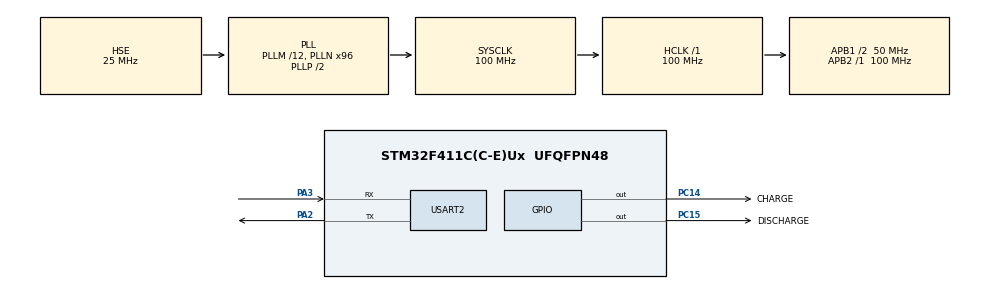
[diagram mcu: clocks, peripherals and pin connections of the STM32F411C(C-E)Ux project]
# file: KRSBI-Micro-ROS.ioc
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Dma.Request0=USART2_RX
Dma.Request1=USART2_TX
Dma.USART2_RX.0.Direction=DMA_PERIPH_TO_MEMORY
Dma.USART2_RX.0.FIFOMode=DMA_FIFOMODE_DISABLE
Dma.USART2_RX.0.Instance=DMA1_Stream5
Dma.USART2_RX.0.MemDataAlignment=DMA_MDATAALIGN_BYTE
Dma.USART2_RX.0.MemInc=DMA_MINC_ENABLE
Dma.USART2_RX.0.Mode=DMA_CIRCULAR
Dma.USART2_RX.0.PeriphDataAlignment=DMA_PDATAALIGN_BYTE
Dma.USART2_RX.0.PeriphInc=DMA_PINC_DISABLE
Dma.USART2_RX.0.Priority=DMA_PRIORITY_VERY_HIGH
Dma.USART2_TX.1.Direction=DMA_MEMORY_TO_PERIPH
Dma.USART2_TX.1.FIFOMode=DMA_FIFOMODE_DISABLE
Dma.USART2_TX.1.Instance=DMA1_Stream6
Dma.USART2_TX.1.MemDataAlignment=DMA_MDATAALIGN_BYTE
Dma.USART2_TX.1.MemInc=DMA_MINC_ENABLE
Dma.USART2_TX.1.Mode=DMA_NORMAL
Dma.USART2_TX.1.PeriphDataAlignment=DMA_PDATAALIGN_BYTE
Dma.USART2_TX.1.PeriphInc=DMA_PINC_DISABLE
Dma.USART2_TX.1.Priority=DMA_PRIORITY_VERY_HIGH
FREERTOS.Tasks01=defaultTask,24,3000,StartDefaultTask,Default,NULL,Dynamic,NULL,NULL
FREERTOS.configUSE_NEWLIB_REENTRANT=1
Mcu.Family=STM32F4
Mcu.Name=STM32F411C(C-E)Ux
Mcu.Package=UFQFPN48
NVIC.DMA1_Stream5_IRQn=true\:5\:0\:false\:false\:true\:true\:false\:true\:true
NVIC.DMA1_Stream6_IRQn=true\:5\:0\:false\:false\:true\:true\:false\:true\:true
NVIC.PriorityGroup=NVIC_PRIORITYGROUP_4
NVIC.TIM1_UP_TIM10_IRQn=true\:15\:0\:false\:false\:true\:false\:false\:true\:true
NVIC.TimeBase=TIM1_UP_TIM10_IRQn
NVIC.TimeBaseIP=TIM1
NVIC.USART2_IRQn=true\:5\:0\:false\:false\:true\:true\:true\:true\:true
PA13.Mode=Serial_Wire
PA13.Signal=SYS_JTMS-SWDIO
PA14.Mode=Serial_Wire
PA14.Signal=SYS_JTCK-SWCLK
PA2.Mode=Asynchronous
PA2.Signal=USART2_TX
PA3.Mode=Asynchronous
PA3.Signal=USART2_RX
PC14-OSC32_IN.GPIO_Label=CHARGE
PC14-OSC32_IN.Signal=GPIO_Output
PC15-OSC32_OUT.GPIO_Label=DISCHARGE
PC15-OSC32_OUT.Signal=GPIO_Output
PH0\ -\ OSC_IN.Mode=HSE-External-Oscillator
PH0\ -\ OSC_IN.Signal=RCC_OSC_IN
PH1\ -\ OSC_OUT.Mode=HSE-External-Oscillator
PH1\ -\ OSC_OUT.Signal=RCC_OSC_OUT
ProjectManager.HeapSize=0x200
ProjectManager.StackSize=0x400
ProjectManager.TargetToolchain=STM32CubeIDE
RCC.48MHZClocksFreq_Value=50000000
RCC.AHBFreq_Value=100000000
RCC.APB1CLKDivider=RCC_HCLK_DIV2
RCC.APB1Freq_Value=50000000
RCC.APB1TimFreq_Value=100000000
RCC.APB2Freq_Value=100000000
RCC.APB2TimFreq_Value=100000000
RCC.CortexFreq_Value=100000000
RCC.HCLKFreq_Value=100000000
RCC.HSE_VALUE=25000000
RCC.HSI_VALUE=16000000
RCC.LSE_VALUE=32768
RCC.PLLM=12
RCC.PLLN=96
RCC.PLLSourceVirtual=RCC_PLLSOURCE_HSE
RCC.SYSCLKFreq_VALUE=100000000
RCC.SYSCLKSource=RCC_SYSCLKSOURCE_PLLCLK
RCC.VCOOutputFreq_Value=200000000
USART2.VirtualMode=VM_ASYNC
VP_FREERTOS_VS_CMSIS_V2.Mode=CMSIS_V2
VP_SYS_VS_tim1.Mode=TIM1
board=custom

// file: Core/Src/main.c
/* USER CODE BEGIN Header */
/**
 ******************************************************************************
 * @file           : main.c
 * @brief          : Main program body
 ******************************************************************************
 * @attention
 *
 * Copyright (c) 2025 STMicroelectronics.
 * All rights reserved.
 *
 * This software is licensed under terms that can be found in the LICENSE file
 * in the root directory of this software component.
 * If no LICENSE file comes with this software, it is provided AS-IS.
 *
 ******************************************************************************
 */
/* USER CODE END Header */
#include "main.h"
#include "cmsis_os.h"

/* USER CODE BEGIN Includes */
#include <rcl/rcl.h>
#include <rcl/error_handling.h>
#include <rclc/rclc.h>
#include <rclc/executor.h>
#include <uxr/client/transport.h>
#include <rmw_microxrcedds_c/config.h>
#include <rmw_microros/rmw_microros.h>
#include <std_msgs/msg/float32_multi_array.h>
#include <krsbi_interfaces/msg/ball_position_based_on_camera.h>
#include <krsbi_interfaces/msg/wheel.h>
#include <krsbi_interfaces/msg/robot_mode.h>
#include <krsbi_interfaces/msg/kicker_module.h>
#include <math.h>
#include <pid.h>
#include <utility.h>
/* USER CODE END Includes */

/* USER CODE BEGIN PTD */
enum states {
	WAITING_AGENT, AGENT_AVAILABLE, AGENT_CONNECTED, AGENT_DISCONNECTED
} state;
/* USER CODE END PTD */

/* USER CODE BEGIN PM */
#define EXECUTE_EVERY_N_MS(MS, X)  do { \
    static volatile int64_t init = -1; \
    if (init == -1) { init = uxr_millis();} \
    if (uxr_millis() - init > MS) { X; init = uxr_millis();} \
  } while (0)
/* USER CODE END PM */

UART_HandleTypeDef huart2;
DMA_HandleTypeDef hdma_usart2_rx;
DMA_HandleTypeDef hdma_usart2_tx;

/* Definitions for defaultTask */
osThreadId_t defaultTaskHandle;
const osThreadAttr_t defaultTask_attributes = { .name = "defaultTask",
		.stack_size = 3000 * 4, .priority = (osPriority_t) osPriorityNormal, };
/* USER CODE BEGIN PV */
bool cubemx_transport_open(struct uxrCustomTransport *transport);
bool cubemx_transport_close(struct uxrCustomTransport *transport);
size_t cubemx_transport_write(struct uxrCustomTransport *transport,
		const uint8_t *buf, size_t len, uint8_t *err);
size_t cubemx_transport_read(struct uxrCustomTransport *transport, uint8_t *buf,
		size_t len, int timeout, uint8_t *err);

void* microros_allocate(size_t size, void *state);
void microros_deallocate(void *pointer, void *state);
void* microros_reallocate(void *pointer, size_t size, void *state);
void* microros_zero_allocate(size_t number_of_elements, size_t size_of_element,
		void *state);

/*
 * Declare rcl object
 */
rclc_support_t support;
rcl_init_options_t init_options;
rcl_node_t node;
rcl_timer_t timer;
rclc_executor_t executor;
rcl_allocator_t allocator;

/*
 * TODO : Declare your
 * publisher & subscription objects below
 */
rcl_publisher_t pubWheel;
rcl_subscription_t subBallPositionBasedOnCamera;
rcl_subscription_t subRobotMode;
rcl_subscription_t subKickerModule;
rcl_subscription_t subPIDParam;

/*
 * TODO : Define your necessary Msg
 * that you want to work with below.
 */
krsbi_interfaces__msg__Wheel wheel_msg;
krsbi_interfaces__msg__BallPositionBasedOnCamera ballPositionBasedOnCamera_msg;
krsbi_interfaces__msg__RobotMode robotMode_msg;
krsbi_interfaces__msg__KickerModule kickerModule_msg;
std_msgs__msg__Float32MultiArray pidParam_msg;

PID_Controller pidAx, pidAy, pidW;
float ax, ay, w, errorJarak, errorSudut, errorX, errorY, force1, force2, force3;
/* USER CODE END PV */

void SystemClock_Config(void);
static void MX_GPIO_Init(void);
static void MX_DMA_Init(void);
static void MX_USART2_UART_Init(void);
void StartDefaultTask(void *argument);

/* USER CODE BEGIN 0 */
void kejar_bola_1(float *ax, float *w) {
	errorJarak = fabs(
			error_jarak_calculation(
					ballPositionBasedOnCamera_msg.position_set_point,
					ballPositionBasedOnCamera_msg.distance));
	errorSudut = error_sudut_calculation(
			ballPositionBasedOnCamera_msg.angle_set_point,
			ballPositionBasedOnCamera_msg.angle);
	*ax = PID_Update(&pidAx, ballPositionBasedOnCamera_msg.distance,
			errorJarak);
	*w = -PID_Update(&pidW, ballPositionBasedOnCamera_msg.angle, errorSudut);
}

void kejar_bola_2(float *ax, float *ay, float *w) {
	errorSudut = error_sudut_calculation(
			ballPositionBasedOnCamera_msg.angle_set_point,
			ballPositionBasedOnCamera_msg.angle);
	errorX = error_jarak_calculation(
			ballPositionBasedOnCamera_msg.position_x_set_point,
			ballPositionBasedOnCamera_msg.x_on_camera);
	errorY = error_jarak_calculation(
			ballPositionBasedOnCamera_msg.position_y_set_point,
			ballPositionBasedOnCamera_msg.y_on_camera);

	*ax =
			(PID_Update(&pidAx, ballPositionBasedOnCamera_msg.x_on_camera,
					errorY));
	*ay =
			(PID_Update(&pidAy, ballPositionBasedOnCamera_msg.y_on_camera,
					errorX));
	*w = PID_Update(&pidW, ballPositionBasedOnCamera_msg.angle, errorSudut);

}

void remap(float *force, float fromMinMax[2], float toMinMax[2]) {
	*force = ((*force - fromMinMax[0]) / (fromMinMax[1] - fromMinMax[0]))
			* (toMinMax[1] - toMinMax[0]) + toMinMax[0];
}

void motor_calculation(float ax, float ay, float w) {

	// Menghitung force untuk setiap motor
	force1 = ((-0.5773509529248335 * ax) + (-0.33333368867682667 * ay)
			+ (0.33333368867682667 * w));
	force2 = ((0.5773509529248335 * ax) + (-0.3333329779898402 * ay)
			+ (0.3333329779898402 * w));
	force3 = ((0 * ax) + (0.6666666666666669 * ay) + (0.33333333333333326 * w));

	// Remap jika force1 >= 0
	if (force1 >= 0) {
		float fromRange[2] = { 0, 0.91 };
		float toRange[2] = { 0, 255 };
		remap(&force1, fromRange, toRange);
		wheel_msg.left_wheel_cw = force1;
		wheel_msg.left_wheel_ccw = 0;
	} else if (force1 < 0) {
		force1 = fabs(force1);
		float fromRange[2] = { 0, 0.91 };
		float toRange[2] = { 0, 255 };
		remap(&force1, fromRange, toRange);
		wheel_msg.left_wheel_cw = 0;
		wheel_msg.left_wheel_ccw = force1;

	}
	if (force2 >= 0) {
		float fromRange[2] = { 0, 0.91 };
		float toRange[2] = { 0, 255 };
		remap(&force2, fromRange, toRange);
		wheel_msg.right_wheel_cw = force2;
		wheel_msg.right_wheel_ccw = 0;
	} else if (force2 < 0) {
		force2 = fabs(force2);
		float fromRange[2] = { 0, 0.91 };
		float toRange[2] = { 0, 255 };
		remap(&force2, fromRange, toRange);
		wheel_msg.right_wheel_cw = 0;
		wheel_msg.right_wheel_ccw = force2;

	}
	if (force3 >= 0) {
		float fromRange[2] = { 0, 0.91 };
		float toRange[2] = { 0, 255 };
		remap(&force3, fromRange, toRange);
		wheel_msg.bottom_wheel_cw = force3;
		wheel_msg.bottom_wheel_cw = 0;
	} else if (force3 < 0) {
		force3 = fabs(force3);
		float fromRange[2] = { 0, 0.91 };
		float toRange[2] = { 0, 255 };
		remap(&force3, fromRange, toRange);
		wheel_msg.bottom_wheel_cw = 0;
		wheel_msg.bottom_wheel_cw = force3;

	}
}

void ball_position_based_on_camera_callback(const void *msgin) {
	krsbi_interfaces__msg__BallPositionBasedOnCamera *ballPositionBasedOnCamera_msg =
			(krsbi_interfaces__msg__BallPositionBasedOnCamera*) msgin;

}

void robot_mode_callback(const void *msgin) {
	krsbi_interfaces__msg__RobotMode *robotMode_msg =
			(krsbi_interfaces__msg__RobotMode*) msgin;
}

void kicker_module_callback(const void *msgin) {
	krsbi_interfaces__msg__KickerModule *kickerModule_msg =
			(krsbi_interfaces__msg__KickerModule*) msgin;
}

void pidParam_callback(const void *msgin) {
	const std_msgs__msg__Float32MultiArray *pidParam_msg =
			(const std_msgs__msg__Float32MultiArray*) msgin;

	if (pidParam_msg->data.size >= 9) {
		pidAx.kp = pidParam_msg->data.data[0];
		pidAx.ki = pidParam_msg->data.data[1];
		pidAx.kd = pidParam_msg->data.data[2];

		pidAy.kp = pidParam_msg->data.data[3];
		pidAy.ki = pidParam_msg->data.data[4];
		pidAy.kd = pidParam_msg->data.data[5];

		pidW.kp = pidParam_msg->data.data[6];
		pidW.ki = pidParam_msg->data.data[7];
		pidW.kd = pidParam_msg->data.data[8];
	}
}

void timer_callback(rcl_timer_t *timer, int64_t last_call_time) {
	(void) last_call_time;
	if (timer != NULL) {

		/*
		 TODO : Publish anything inside here
		 */
		if (strcasecmp(robotMode_msg.mode.data, "catchBall") == 0
				|| strcasecmp(robotMode_msg.mode.data, "catchBall2") == 0) {
			rcl_publish(&pubWheel, &wheel_msg, NULL);
		}

	}
}

bool create_entities() {
	/*
	 TODO : Define your
	 - ROS node name
	 - namespace
	 - ROS_DOMAIN_ID
	 */
	const char *node_name = "stm32_node";
	const char *ns = "";
	const int domain_id = 0;

	/*
	 * Initialize node
	 */
	allocator = rcl_get_default_allocator();
	init_options = rcl_get_zero_initialized_init_options();
	rcl_init_options_init(&init_options, allocator);
	rcl_init_options_set_domain_id(&init_options, domain_id);
	rclc_support_init_with_options(&support, 0, NULL, &init_options,
			&allocator);
	rclc_node_init_default(&node, node_name, ns, &support);

	/*
	 * TODO : Init your publisher and subscriber
	 */
	rclc_publisher_init(&pubWheel, &node,
			ROSIDL_GET_MSG_TYPE_SUPPORT(krsbi_interfaces, msg, Wheel), "Wheel",
			&rmw_qos_profile_default);

	rclc_subscription_init(&subBallPositionBasedOnCamera, &node,
			ROSIDL_GET_MSG_TYPE_SUPPORT(krsbi_interfaces, msg,
					BallPositionBasedOnCamera), "/BallPositionBasedOnCamera",
			&rmw_qos_profile_default);

	rclc_subscription_init(&subRobotMode, &node,
			ROSIDL_GET_MSG_TYPE_SUPPORT(krsbi_interfaces, msg, RobotMode),
			"/RobotMode", &rmw_qos_profile_default);

	rclc_subscription_init(&subKickerModule, &node,
			ROSIDL_GET_MSG_TYPE_SUPPORT(krsbi_interfaces, msg, KickerModule),
			"/KickerModule", &rmw_qos_profile_default);

	rclc_subscription_init(&subPIDParam, &node,
			ROSIDL_GET_MSG_TYPE_SUPPORT(std_msgs, msg, Float32MultiArray),
			"/pidParams", &rmw_qos_profile_default);

	/*
	 * Init timer_callback
	 * TODO : change timer_timeout
	 * 50ms : 20Hz
	 * 20ms : 50Hz
	 * 10ms : 100Hz
	 */
	const unsigned int timer_timeout = 10;
	rclc_timer_init_default(&timer, &support, RCL_MS_TO_NS(timer_timeout),
			timer_callback);

	/*
	 * Init Executor
	 * TODO : make sure the num_handles is correct
	 * num_handles = total_of_subscriber + timer
	 * publisher is not counted
	 *
	 * TODO : make sure the name of sub msg and callback are correct
	 */
	unsigned int num_handles = 5;
	executor = rclc_executor_get_zero_initialized_executor();
	rclc_executor_init(&executor, &support.context, num_handles, &allocator);
	rclc_executor_add_subscription(&executor, &subBallPositionBasedOnCamera,
			&ballPositionBasedOnCamera_msg,
			&ball_position_based_on_camera_callback, ON_NEW_DATA);
	rclc_executor_add_subscription(&executor, &subRobotMode, &robotMode_msg,
			&robot_mode_callback, ON_NEW_DATA);
	rclc_executor_add_subscription(&executor, &subKickerModule,
			&kickerModule_msg, &kicker_module_callback, ON_NEW_DATA);
	rclc_executor_add_subscription(&executor, &subPIDParam, &pidParam_msg,
			&pidParam_callback, ON_NEW_DATA);
	rclc_executor_add_timer(&executor, &timer);

	return true;
}

void destroy_entities() {
	rmw_context_t *rmw_context = rcl_context_get_rmw_context(&support.context);
	(void) rmw_uros_set_context_entity_destroy_session_timeout(rmw_context, 0);

	rcl_timer_fini(&timer);
	rclc_executor_fini(&executor);
	rcl_init_options_fini(&init_options);
	rcl_node_fini(&node);
	rclc_support_fini(&support);
	/*
	 * TODO : Make sue the name of publisher and subscriber are correct
	 */
	rcl_publisher_fini(&pubWheel, &node);
	rcl_subscription_fini(&subBallPositionBasedOnCamera, &node);
	rcl_subscription_fini(&subRobotMode, &node);
	rcl_subscription_fini(&subKickerModule, &node);
	rcl_subscription_fini(&subPIDParam, &node);
}
/* USER CODE END 0 */

int main(void) {

	/* MCU Configuration--------------------------------------------------------*/

	/* Reset of all peripherals, Initializes the Flash interface and the Systick. */
	HAL_Init();

	/* Configure the system clock */
	SystemClock_Config();

	/* Initialize all configured peripherals */
	MX_GPIO_Init();
	MX_DMA_Init();
	MX_USART2_UART_Init();
	/* USER CODE BEGIN 2 */
	PID_Init(&pidAx, 15, 0.1, 0, -1000, 1000);
	PID_Init(&pidW, 6, 0, 0, -1000, 1000);
	PID_Init(&pidAy, 15, 0.1, 0, -1000, 1000);
	/* USER CODE END 2 */

	/* Init scheduler */
	osKernelInitialize();

	/* Create the thread(s) */
	/* creation of defaultTask */
	defaultTaskHandle = osThreadNew(StartDefaultTask, NULL,
			&defaultTask_attributes);

	/* Start scheduler */
	osKernelStart();

	/* We should never get here as control is now taken by the scheduler */

	/* Infinite loop */
	while (1) {

	}
}

void SystemClock_Config(void) {
	RCC_OscInitTypeDef RCC_OscInitStruct = { 0 };
	RCC_ClkInitTypeDef RCC_ClkInitStruct = { 0 };

	/** Configure the main internal regulator output voltage
	 */
	__HAL_RCC_PWR_CLK_ENABLE();
	__HAL_PWR_VOLTAGESCALING_CONFIG(PWR_REGULATOR_VOLTAGE_SCALE1);

	/** Initializes the RCC Oscillators according to the specified parameters
	 * in the RCC_OscInitTypeDef structure.
	 */
	RCC_OscInitStruct.OscillatorType = RCC_OSCILLATORTYPE_HSE;
	RCC_OscInitStruct.HSEState = RCC_HSE_ON;
	RCC_OscInitStruct.PLL.PLLState = RCC_PLL_ON;
	RCC_OscInitStruct.PLL.PLLSource = RCC_PLLSOURCE_HSE;
	RCC_OscInitStruct.PLL.PLLM = 12;
	RCC_OscInitStruct.PLL.PLLN = 96;
	RCC_OscInitStruct.PLL.PLLP = RCC_PLLP_DIV2;
	RCC_OscInitStruct.PLL.PLLQ = 4;
	if (HAL_RCC_OscConfig(&RCC_OscInitStruct) != HAL_OK) {
		Error_Handler();
	}

	/** Initializes the CPU, AHB and APB buses clocks
	 */
	RCC_ClkInitStruct.ClockType = RCC_CLOCKTYPE_HCLK | RCC_CLOCKTYPE_SYSCLK
			| RCC_CLOCKTYPE_PCLK1 | RCC_CLOCKTYPE_PCLK2;
	RCC_ClkInitStruct.SYSCLKSource = RCC_SYSCLKSOURCE_PLLCLK;
	RCC_ClkInitStruct.AHBCLKDivider = RCC_SYSCLK_DIV1;
	RCC_ClkInitStruct.APB1CLKDivider = RCC_HCLK_DIV2;
	RCC_ClkInitStruct.APB2CLKDivider = RCC_HCLK_DIV1;

	if (HAL_RCC_ClockConfig(&RCC_ClkInitStruct, FLASH_LATENCY_3) != HAL_OK) {
		Error_Handler();
	}
}

static void MX_USART2_UART_Init(void) {

	huart2.Instance = USART2;
	huart2.Init.BaudRate = 115200;
	huart2.Init.WordLength = UART_WORDLENGTH_8B;
	huart2.Init.StopBits = UART_STOPBITS_1;
	huart2.Init.Parity = UART_PARITY_NONE;
	huart2.Init.Mode = UART_MODE_TX_RX;
	huart2.Init.HwFlowCtl = UART_HWCONTROL_NONE;
	huart2.Init.OverSampling = UART_OVERSAMPLING_16;
	if (HAL_UART_Init(&huart2) != HAL_OK) {
		Error_Handler();
	}

}

static void MX_DMA_Init(void) {

	/* DMA controller clock enable */
	__HAL_RCC_DMA1_CLK_ENABLE();

	/* DMA interrupt init */
	/* DMA1_Stream5_IRQn interrupt configuration */
	HAL_NVIC_SetPriority(DMA1_Stream5_IRQn, 5, 0);
	HAL_NVIC_EnableIRQ(DMA1_Stream5_IRQn);
	/* DMA1_Stream6_IRQn interrupt configuration */
	HAL_NVIC_SetPriority(DMA1_Stream6_IRQn, 5, 0);
	HAL_NVIC_EnableIRQ(DMA1_Stream6_IRQn);

}

static void MX_GPIO_Init(void) {
	GPIO_InitTypeDef GPIO_InitStruct = { 0 };

	/* GPIO Ports Clock Enable */
	__HAL_RCC_GPIOC_CLK_ENABLE();
	__HAL_RCC_GPIOH_CLK_ENABLE();
	__HAL_RCC_GPIOA_CLK_ENABLE();

	/*Configure GPIO pin Output Level */
	HAL_GPIO_WritePin(GPIOC, CHARGE_Pin | DISCHARGE_Pin, GPIO_PIN_RESET);

	/*Configure GPIO pins : CHARGE_Pin DISCHARGE_Pin */
	GPIO_InitStruct.Pin = CHARGE_Pin | DISCHARGE_Pin;
	GPIO_InitStruct.Mode = GPIO_MODE_OUTPUT_PP;
	GPIO_InitStruct.Pull = GPIO_NOPULL;
	GPIO_InitStruct.Speed = GPIO_SPEED_FREQ_LOW;
	HAL_GPIO_Init(GPIOC, &GPIO_InitStruct);

}

void StartDefaultTask(void *argument) {
	/* USER CODE BEGIN 5 */
	rmw_uros_set_custom_transport(
	true, (void*) &huart2, cubemx_transport_open, cubemx_transport_close,
			cubemx_transport_write, cubemx_transport_read);

	rcl_allocator_t freeRTOS_allocator =
			rcutils_get_zero_initialized_allocator();
	freeRTOS_allocator.allocate = microros_allocate;
	freeRTOS_allocator.deallocate = microros_deallocate;
	freeRTOS_allocator.reallocate = microros_reallocate;
	freeRTOS_allocator.zero_allocate = microros_zero_allocate;

	if (!rcutils_set_default_allocator(&freeRTOS_allocator)) {
		printf("Error on default allocators (line %d)\n", __LINE__);
	}

	kickerModule_msg.status.data = malloc(32);
	kickerModule_msg.status.size = 0;
	kickerModule_msg.status.capacity = 32;

	robotMode_msg.mode.data = malloc(32);
	robotMode_msg.mode.size = 0;
	robotMode_msg.mode.capacity = 32;

	static float pidParam_data[9] = {0}; // buffer statik agar tidak hilang dari stack
	pidParam_msg.data.size = 9;
	pidParam_msg.data.capacity = 9;
	pidParam_msg.data.data = pidParam_data;

	state = WAITING_AGENT;
	/* Infinite loop */
	for (;;) {
		switch (state) {
		case WAITING_AGENT:
			EXECUTE_EVERY_N_MS(500,
					state = (RMW_RET_OK == rmw_uros_ping_agent(100, 1)) ? AGENT_AVAILABLE : WAITING_AGENT;);
			break;
		case AGENT_AVAILABLE:
			state = (true == create_entities()) ?
					AGENT_CONNECTED : WAITING_AGENT;
			if (state == WAITING_AGENT) {
				destroy_entities();
			}
			;
			break;
		case AGENT_CONNECTED:
			EXECUTE_EVERY_N_MS(200,
					state = (RMW_RET_OK == rmw_uros_ping_agent(100, 1)) ? AGENT_CONNECTED : AGENT_DISCONNECTED;);
			if (state == AGENT_CONNECTED) {
				rclc_executor_spin_some(&executor, RCL_MS_TO_NS(100));
			}
			break;
		case AGENT_DISCONNECTED:
			destroy_entities();
			state = WAITING_AGENT;
			break;
		default:
			break;

		}
		/*
		 * TODO :
		 * Do anything else you want to do here,
		 * like read sensor data,
		 * calculate something, etc.
		 */
		if (strcasecmp(kickerModule_msg.status.data, "charging") == 0) {
			HAL_GPIO_WritePin(CHARGE_GPIO_Port, CHARGE_Pin, SET);
			HAL_GPIO_WritePin(DISCHARGE_GPIO_Port, DISCHARGE_Pin, RESET);
		} else if (strcasecmp(kickerModule_msg.status.data, "kick") == 0) {
			HAL_GPIO_WritePin(CHARGE_GPIO_Port, CHARGE_Pin, RESET);
			HAL_GPIO_WritePin(DISCHARGE_GPIO_Port, DISCHARGE_Pin, SET);
		} else {
			HAL_GPIO_WritePin(CHARGE_GPIO_Port, CHARGE_Pin, RESET);
			HAL_GPIO_WritePin(DISCHARGE_GPIO_Port, DISCHARGE_Pin, RESET);
		}

		if (strcasecmp(robotMode_msg.mode.data, "catchBall") == 0) {
			kejar_bola_1(&ax, &w);
		} else if (strcasecmp(robotMode_msg.mode.data, "catchBall2") == 0) {
			kejar_bola_2(&ax, &ay, &w);
		}

		map(&ax, -1000, 1000, -1, 1);
		map(&ay, -1000, 1000, -1, 1);
		map(&w, -1000, 1000, -1, 1);

		if (-0.13 <= ax && ax <= 0.13)
			ax = 0;
		if (0.13 <= w && w <= 0.13)
			w = 0;

		if (ax < -0.8)
			ax = -0.8;
		else if (ax > 0.6)
			ax = 0.6;

		if (ay < -0.8)
			ay = -0.8;
		else if (ay > 0.6)
			ay = 0.6;

		if (w < -0.8)
			w = -0.8;
		else if (w > 0.8)
			w = 0.8;

		motor_calculation(ax, ay, w);

		osDelay(1);
	}
	/* USER CODE END 5 */
}

void HAL_TIM_PeriodElapsedCallback(TIM_HandleTypeDef *htim) {
	if (htim->Instance == TIM1) {
		HAL_IncTick();
	}
}

void Error_Handler(void) {
	__disable_irq();
	while (1) {
	}
}
